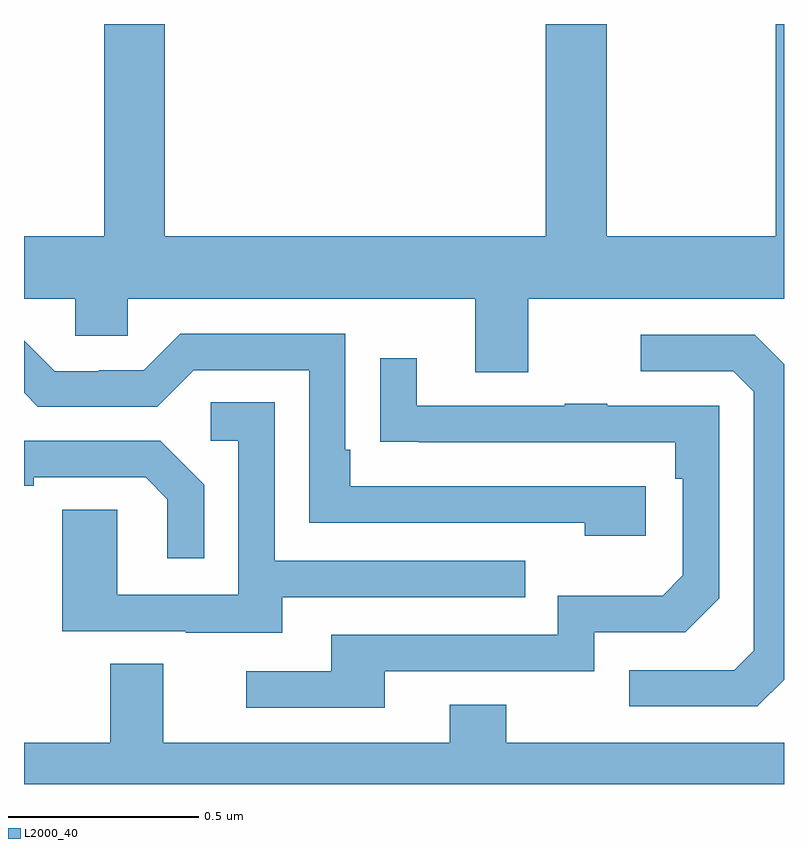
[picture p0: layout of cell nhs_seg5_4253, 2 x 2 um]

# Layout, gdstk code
import gdstk
lib = gdstk.Library(unit=1e-6, precision=1e-09)
def P(c, l, *ps):  # polygons
    for p in ps: c.add(gdstk.Polygon(p, *l))
L2000_40 = (2000, 40)

nhs_seg5_4253 = lib.new_cell('nhs_seg5_4253')
P(nhs_seg5_4253, L2000_40, [(169.327,874.076),(170,874.076),(170,874.799),(169.978,874.799),(169.978,874.24),(169.533,874.24),(169.533,874.799),(169.373,874.799),(169.373,874.24),(168.371,874.24),(168.371,874.799),(168.211,874.799),(168.211,874.24),(168,874.24),(168,874.076),(168.135,874.076),(168.135,873.978),(168.273,873.978),(168.273,874.076),(169.187,874.076),(169.187,873.882),(169.327,873.882)],
  [(169.636,873.582),(168.859,873.582),(168.859,873.679),(168.846,873.679),(168.846,873.984),(168.411,873.984),(168.315,873.888),(168.197,873.888),(168.197,873.885),(168.081,873.885),(168,873.966),(168,873.828),(168.036,873.792),(168.351,873.792),(168.447,873.888),(168.75,873.888),(168.75,873.486),(169.475,873.486),(169.475,873.452),(169.636,873.452)],
  [(170,873.074),(170,873.904),(169.923,873.981),(169.623,873.981),(169.623,873.885),(169.866,873.885),(169.92,873.831),(169.92,873.15),(169.869,873.099),(169.593,873.099),(169.593,873.003),(169.929,873.003)],
  [(168.949,873.096),(169.5,873.096),(169.5,873.198),(169.74,873.198),(169.83,873.288),(169.83,873.795),(169.535,873.795),(169.535,873.8),(169.423,873.8),(169.423,873.795),(169.033,873.795),(169.033,873.919),(168.937,873.919),(168.937,873.7),(169.039,873.7),(169.039,873.699),(169.714,873.699),(169.714,873.602),(169.734,873.602),(169.734,873.348),(169.681,873.295),(169.404,873.295),(169.404,873.192),(168.809,873.192),(168.809,873.096),(168.585,873.096),(168.585,873),(168.949,873)],
  [(168.679,873.291),(169.319,873.291),(169.319,873.387),(168.66,873.387),(168.66,873.803),(168.492,873.803),(168.492,873.702),(168.564,873.702),(168.564,873.297),(168.246,873.297),(168.246,873.521),(168.101,873.521),(168.101,873.201),(168.425,873.201),(168.425,873.197),(168.679,873.197)],
  [(168.474,873.586),(168.358,873.702),(168,873.702),(168,873.584),(168.025,873.584),(168.025,873.606),(168.32,873.606),(168.377,873.549),(168.377,873.393),(168.474,873.393)],
  [(170,872.908),(169.269,872.908),(169.269,873.007),(169.121,873.007),(169.121,872.908),(168.367,872.908),(168.367,873.116),(168.227,873.116),(168.227,872.908),(168,872.908),(168,872.799),(170,872.799)])

lib.write_gds('nhs_seg5_4253.gds')
